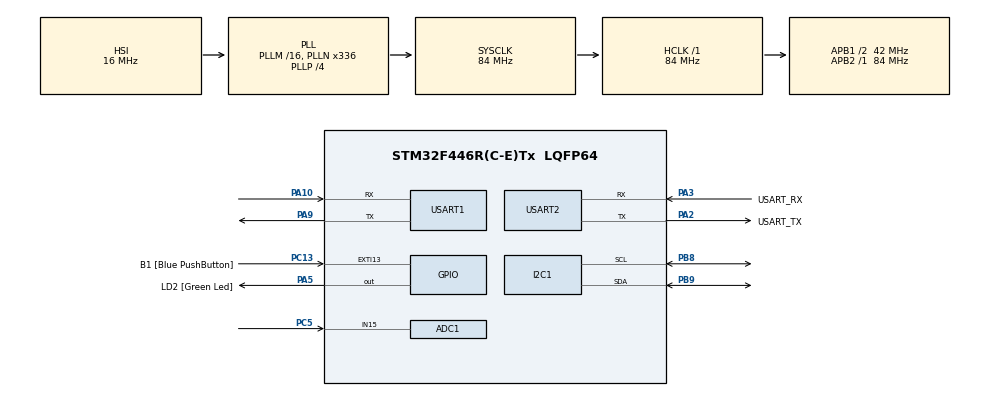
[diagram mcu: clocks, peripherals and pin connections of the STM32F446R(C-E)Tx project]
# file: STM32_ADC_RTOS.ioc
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ADC1.Channel-4\#ChannelRegularConversion=ADC_CHANNEL_15
ADC1.NbrOfConversionFlag=1
ADC1.Rank-4\#ChannelRegularConversion=1
ADC1.SamplingTime-4\#ChannelRegularConversion=ADC_SAMPLETIME_3CYCLES
ADC1.master=1
FREERTOS.Tasks01=defaultTask,0,128,StartDefaultTask,Default,NULL,Dynamic,NULL,NULL
FREERTOS.Timers01=LED_task,Timer_Callback,osTimerPeriodic,Default,NULL,Dynamic,NULL;myTimer02,Callback02,osTimerPeriodic,Default,NULL,Dynamic,NULL
FREERTOS.configTIMER_TASK_PRIORITY=6
FREERTOS.configUSE_NEWLIB_REENTRANT=1
FREERTOS.configUSE_TIMERS=1
Mcu.Family=STM32F4
Mcu.Name=STM32F446R(C-E)Tx
Mcu.Package=LQFP64
NVIC.EXTI15_10_IRQn=true\:5\:0\:false\:false\:true\:true\:true\:true\:true
NVIC.PriorityGroup=NVIC_PRIORITYGROUP_4
NVIC.TIM1_UP_TIM10_IRQn=true\:15\:0\:false\:false\:true\:false\:false\:true\:true
NVIC.TimeBase=TIM1_UP_TIM10_IRQn
NVIC.TimeBaseIP=TIM1
PA10.Mode=Asynchronous
PA10.Signal=USART1_RX
PA13.GPIO_Label=TMS
PA13.Mode=Serial_Wire
PA13.Signal=SYS_JTMS-SWDIO
PA14.GPIO_Label=TCK
PA14.Mode=Serial_Wire
PA14.Signal=SYS_JTCK-SWCLK
PA2.GPIO_Label=USART_TX
PA2.Mode=Asynchronous
PA2.Signal=USART2_TX
PA3.GPIO_Label=USART_RX
PA3.Mode=Asynchronous
PA3.Signal=USART2_RX
PA5.GPIO_Label=LD2 [Green Led]
PA5.Signal=GPIO_Output
PA9.Mode=Asynchronous
PA9.Signal=USART1_TX
PB3.GPIO_Label=SWO
PB3.Signal=SYS_JTDO-SWO
PB8.Mode=I2C
PB8.Signal=I2C1_SCL
PB9.Mode=I2C
PB9.Signal=I2C1_SDA
PC13.GPIO_Label=B1 [Blue PushButton]
PC13.GPIO_ModeDefaultEXTI=GPIO_MODE_IT_FALLING
PC13.Signal=GPXTI13
PC14-OSC32_IN.Mode=LSE-External-Oscillator
PC14-OSC32_IN.Signal=RCC_OSC32_IN
PC15-OSC32_OUT.Mode=LSE-External-Oscillator
PC15-OSC32_OUT.Signal=RCC_OSC32_OUT
PC5.Signal=ADCx_IN15
PH0-OSC_IN.Mode=HSE-External-Oscillator
PH0-OSC_IN.Signal=RCC_OSC_IN
PH1-OSC_OUT.Mode=HSE-External-Oscillator
PH1-OSC_OUT.Signal=RCC_OSC_OUT
ProjectManager.HeapSize=0x200
ProjectManager.StackSize=0x400
ProjectManager.TargetToolchain=STM32CubeIDE
RCC.48MHZClocksFreq_Value=84000000
RCC.AHBFreq_Value=84000000
RCC.APB1CLKDivider=RCC_HCLK_DIV2
RCC.APB1Freq_Value=42000000
RCC.APB1TimFreq_Value=84000000
RCC.APB2Freq_Value=84000000
RCC.APB2TimFreq_Value=84000000
RCC.CortexFreq_Value=84000000
RCC.FLatency-AdvancedSettings=FLASH_LATENCY_2
RCC.HCLKFreq_Value=84000000
RCC.HSE_VALUE=8000000
RCC.HSI_VALUE=16000000
RCC.PLLN=336
RCC.PLLP=RCC_PLLP_DIV4
RCC.SYSCLKFreq_VALUE=84000000
RCC.SYSCLKSource=RCC_SYSCLKSOURCE_PLLCLK
RCC.USBFreq_Value=168000000
RCC.VCOOutputFreq_Value=336000000
SH.ADCx_IN15.0=ADC1_IN15,IN15
USART1.VirtualMode=VM_ASYNC
USART2.VirtualMode=VM_ASYNC
VP_FREERTOS_VS_CMSIS_V1.Mode=CMSIS_V1
VP_SYS_VS_tim1.Mode=TIM1
board=NUCLEO-F446RE

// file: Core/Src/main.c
/* USER CODE BEGIN Header */
/**
  ******************************************************************************
  * @file           : main.c
  * @brief          : Main program body
  ******************************************************************************
  * @attention
  *
  * Copyright (c) 2022 STMicroelectronics.
  * All rights reserved.
  *
  * This software is licensed under terms that can be found in the LICENSE file
  * in the root directory of this software component.
  * If no LICENSE file comes with this software, it is provided AS-IS.
  *
  ******************************************************************************
  */
/* USER CODE END Header */
#include "main.h"
#include "cmsis_os.h"
#ifdef __GNUC__
#define PUTCHAR_PROTOTYPE int __io_putchar(int ch)
#else
#define PUTCHAR_PROTOTYPE int fputc(int ch, FILE *f)
#endif

UART_HandleTypeDef huart2;

ADC_HandleTypeDef hadc1;

I2C_HandleTypeDef hi2c1;

UART_HandleTypeDef huart1;
UART_HandleTypeDef huart2;

osThreadId defaultTaskHandle;
/* USER CODE BEGIN PV */
uint32_t count = 0;
uint32_t AD_RES = 0;
float V_RES = 0.0;
/* USER CODE END PV */
SemaphoreHandle_t DispMutex;
SemaphoreHandle_t PrintMutex;
xTimerHandle LED_taskHandle;

/* Private function prototypes
 -----------------------------------------------*/
void SystemClock_Config(void);
static void MX_GPIO_Init(void);
static void MX_USART2_UART_Init(void);
static void MX_ADC1_Init(void);
static void MX_USART1_UART_Init(void);
static void MX_I2C1_Init(void);
void StartDefaultTask(void const * argument);
void Timer_Callback(xTimerHandle xTimer);

/* USER CODE BEGIN PFP */
TaskHandle_t Display_Handler;
TaskHandle_t ADC_Task_Handler;
TaskHandle_t GPIO_Task_Handler;

/* USER CODE END PFP */

/* USER CODE BEGIN 0 */
PUTCHAR_PROTOTYPE
{

  xSemaphoreTake(PrintMutex,portMAX_DELAY);

  HAL_UART_Transmit(&huart2, (uint8_t *)&ch, 1, HAL_MAX_DELAY);

  xSemaphoreGive(PrintMutex);

  return ch;
}
void Display_data (char* str, uint32_t *data)
{
	xSemaphoreTake(DispMutex,portMAX_DELAY);
	HAL_Delay(500);
	char conv_data[10];
	sprintf(conv_data, "%d", data);

    lcd_clear ();
    lcd_put_cur(0, 0);

    lcd_send_string (str);
    lcd_send_string(conv_data);
    HAL_Delay(500);

	xSemaphoreGive(DispMutex);
}
void Display_Task (void *argument)
{
	while (1)
	{
		printf("Entered Display Button task\n\r");

		char* string_data = "Display_Task:";
		Display_data(string_data, count);

		vTaskDelay(1000);
	}
}
void ADC_Task (void *argument)
{
	while (1)
	{
		printf("Entered ADC_Task\n\r");

		char* string_data = "ADC Raw:";

	  // Start ADC Conversion
		HAL_ADC_Start(&hadc1);
	   // Poll ADC1 Perihperal & TimeOut = 1mSec
		HAL_ADC_PollForConversion(&hadc1, 1);
	   // Read The ADC Conversion Result
		AD_RES = HAL_ADC_GetValue(&hadc1);
		printf("ADC VALUE == %d\n\n\r",AD_RES);

		Display_data(string_data, AD_RES);

		vTaskDelay(500);
	}
}
void GPIO_Task (void *argument)
{
	while (1)
	{
		printf("Entered GPIO_Task \n\r");

		char* string_data = "GPIO st:";
		int state = 0;
		if(HAL_GPIO_ReadPin(GPIOA, GPIO_PIN_5)==GPIO_PIN_RESET){
			state = 0;
		}
		else{
			state = 1;
		}
		Display_data(string_data, state);

		vTaskDelay(500);
	}
}

/* Timer_Callback function */
void Timer_Callback(xTimerHandle xTimer)
{
  /* USER CODE BEGIN Timer_Callback */
	if (xTimer == LED_taskHandle)
	{
	    HAL_GPIO_WritePin(GPIOA, GPIO_PIN_5,GPIO_PIN_RESET); //Turn off LED
	}

  /* USER CODE END Timer_Callback */
}
int main(void)
{

  HAL_Init();

  SystemClock_Config();

  MX_GPIO_Init();
  MX_USART2_UART_Init();
  MX_ADC1_Init();
  MX_USART1_UART_Init();
  MX_I2C1_Init();

  /* USER CODE BEGIN 2 */
  lcd_init ();
  lcd_send_string ("STM32-F446");
  HAL_Delay(1000);
  lcd_put_cur(1, 0);
  lcd_send_string("FreeRTOS trial!");
  HAL_Delay(2000);
  lcd_clear ();

    /* Create the timer(s) */
  /* definition and creation of LED_task */
  /* USER CODE END 2 */

  DispMutex = xSemaphoreCreateMutex();

  if (DispMutex != NULL)
  {
	  HAL_UART_Transmit(&huart2, "Disp Mutex Created\n\n", 15, 1000);
  }

  PrintMutex = xSemaphoreCreateMutex();
  if (PrintMutex != NULL)
  {
	  HAL_UART_Transmit(&huart2, "Print Mutex Created\n\n", 19, 1000);
  }

  LED_taskHandle = xTimerCreate("timer1", pdMS_TO_TICKS(5000), pdFALSE, (void *) 1, Timer_Callback);
  xTaskCreate(Display_Task, "Display", 1024, NULL, 1, &Display_Handler);
  xTaskCreate(ADC_Task, 	"ADC_Task", 1024, NULL, 1, &ADC_Task_Handler);
  xTaskCreate(GPIO_Task, 	"GPIO_Task", 1024, NULL, 1, &GPIO_Task_Handler);
  vTaskStartScheduler();
  /* We should never get here as control is now taken by the scheduler */
  /* Infinite loop */
  while (1)
  {

  }
}
void HAL_GPIO_EXTI_Callback(uint16_t GPIO_Pin)
{

    if(GPIO_Pin == B1_Pin) // INT Source is pin A9
    {
    HAL_GPIO_TogglePin(GPIOA, GPIO_PIN_5); // Toggle LED
    //printf("Triggering interrupt ISR\n\r");
	xTimerStartFromISR(LED_taskHandle, 0);

    count++;
    }

}

void SystemClock_Config(void)
{
  RCC_OscInitTypeDef RCC_OscInitStruct = {0};
  RCC_ClkInitTypeDef RCC_ClkInitStruct = {0};

  /** Configure the main internal regulator output voltage
  */
  __HAL_RCC_PWR_CLK_ENABLE();
  __HAL_PWR_VOLTAGESCALING_CONFIG(PWR_REGULATOR_VOLTAGE_SCALE3);

  /** Initializes the RCC Oscillators according to the specified parameters
  * in the RCC_OscInitTypeDef structure.
  */
  RCC_OscInitStruct.OscillatorType = RCC_OSCILLATORTYPE_HSI;
  RCC_OscInitStruct.HSIState = RCC_HSI_ON;
  RCC_OscInitStruct.HSICalibrationValue = RCC_HSICALIBRATION_DEFAULT;
  RCC_OscInitStruct.PLL.PLLState = RCC_PLL_ON;
  RCC_OscInitStruct.PLL.PLLSource = RCC_PLLSOURCE_HSI;
  RCC_OscInitStruct.PLL.PLLM = 16;
  RCC_OscInitStruct.PLL.PLLN = 336;
  RCC_OscInitStruct.PLL.PLLP = RCC_PLLP_DIV4;
  RCC_OscInitStruct.PLL.PLLQ = 2;
  RCC_OscInitStruct.PLL.PLLR = 2;
  if (HAL_RCC_OscConfig(&RCC_OscInitStruct) != HAL_OK)
  {
    Error_Handler();
  }

  /** Initializes the CPU, AHB and APB buses clocks
  */
  RCC_ClkInitStruct.ClockType = RCC_CLOCKTYPE_HCLK|RCC_CLOCKTYPE_SYSCLK
                              |RCC_CLOCKTYPE_PCLK1|RCC_CLOCKTYPE_PCLK2;
  RCC_ClkInitStruct.SYSCLKSource = RCC_SYSCLKSOURCE_PLLCLK;
  RCC_ClkInitStruct.AHBCLKDivider = RCC_SYSCLK_DIV1;
  RCC_ClkInitStruct.APB1CLKDivider = RCC_HCLK_DIV2;
  RCC_ClkInitStruct.APB2CLKDivider = RCC_HCLK_DIV1;

  if (HAL_RCC_ClockConfig(&RCC_ClkInitStruct, FLASH_LATENCY_2) != HAL_OK)
  {
    Error_Handler();
  }
}

static void MX_ADC1_Init(void)
{

  ADC_ChannelConfTypeDef sConfig = {0};

  /** Configure the global features of the ADC (Clock, Resolution, Data Alignment and number of conversion)
  */
  hadc1.Instance = ADC1;
  hadc1.Init.ClockPrescaler = ADC_CLOCK_SYNC_PCLK_DIV4;
  hadc1.Init.Resolution = ADC_RESOLUTION_12B;
  hadc1.Init.ScanConvMode = DISABLE;
  hadc1.Init.ContinuousConvMode = DISABLE;
  hadc1.Init.DiscontinuousConvMode = DISABLE;
  hadc1.Init.ExternalTrigConvEdge = ADC_EXTERNALTRIGCONVEDGE_NONE;
  hadc1.Init.ExternalTrigConv = ADC_SOFTWARE_START;
  hadc1.Init.DataAlign = ADC_DATAALIGN_RIGHT;
  hadc1.Init.NbrOfConversion = 1;
  hadc1.Init.DMAContinuousRequests = DISABLE;
  hadc1.Init.EOCSelection = ADC_EOC_SINGLE_CONV;
  if (HAL_ADC_Init(&hadc1) != HAL_OK)
  {
    Error_Handler();
  }

  /** Configure for the selected ADC regular channel its corresponding rank in the sequencer and its sample time.
  */
  sConfig.Channel = ADC_CHANNEL_15;
  sConfig.Rank = 1;
  sConfig.SamplingTime = ADC_SAMPLETIME_3CYCLES;
  if (HAL_ADC_ConfigChannel(&hadc1, &sConfig) != HAL_OK)
  {
    Error_Handler();
  }

}

static void MX_I2C1_Init(void)
{

  hi2c1.Instance = I2C1;
  hi2c1.Init.ClockSpeed = 100000;
  hi2c1.Init.DutyCycle = I2C_DUTYCYCLE_2;
  hi2c1.Init.OwnAddress1 = 0;
  hi2c1.Init.AddressingMode = I2C_ADDRESSINGMODE_7BIT;
  hi2c1.Init.DualAddressMode = I2C_DUALADDRESS_DISABLE;
  hi2c1.Init.OwnAddress2 = 0;
  hi2c1.Init.GeneralCallMode = I2C_GENERALCALL_DISABLE;
  hi2c1.Init.NoStretchMode = I2C_NOSTRETCH_DISABLE;
  if (HAL_I2C_Init(&hi2c1) != HAL_OK)
  {
    Error_Handler();
  }

}

static void MX_USART1_UART_Init(void)
{

  huart1.Instance = USART1;
  huart1.Init.BaudRate = 115200;
  huart1.Init.WordLength = UART_WORDLENGTH_8B;
  huart1.Init.StopBits = UART_STOPBITS_1;
  huart1.Init.Parity = UART_PARITY_NONE;
  huart1.Init.Mode = UART_MODE_TX_RX;
  huart1.Init.HwFlowCtl = UART_HWCONTROL_NONE;
  huart1.Init.OverSampling = UART_OVERSAMPLING_16;
  if (HAL_UART_Init(&huart1) != HAL_OK)
  {
    Error_Handler();
  }

}

static void MX_USART2_UART_Init(void)
{

  huart2.Instance = USART2;
  huart2.Init.BaudRate = 115200;
  huart2.Init.WordLength = UART_WORDLENGTH_8B;
  huart2.Init.StopBits = UART_STOPBITS_1;
  huart2.Init.Parity = UART_PARITY_NONE;
  huart2.Init.Mode = UART_MODE_TX_RX;
  huart2.Init.HwFlowCtl = UART_HWCONTROL_NONE;
  huart2.Init.OverSampling = UART_OVERSAMPLING_16;
  if (HAL_UART_Init(&huart2) != HAL_OK)
  {
    Error_Handler();
  }

}

static void MX_GPIO_Init(void)
{
  GPIO_InitTypeDef GPIO_InitStruct = {0};

  /* GPIO Ports Clock Enable */
  __HAL_RCC_GPIOC_CLK_ENABLE();
  __HAL_RCC_GPIOH_CLK_ENABLE();
  __HAL_RCC_GPIOA_CLK_ENABLE();
  __HAL_RCC_GPIOB_CLK_ENABLE();

  /*Configure GPIO pin Output Level */
  HAL_GPIO_WritePin(LD2_GPIO_Port, LD2_Pin, GPIO_PIN_RESET);

  /*Configure GPIO pin : B1_Pin */
  GPIO_InitStruct.Pin = B1_Pin;
  GPIO_InitStruct.Mode = GPIO_MODE_IT_FALLING;
  GPIO_InitStruct.Pull = GPIO_NOPULL;
  HAL_GPIO_Init(B1_GPIO_Port, &GPIO_InitStruct);

  /*Configure GPIO pin : LD2_Pin */
  GPIO_InitStruct.Pin = LD2_Pin;
  GPIO_InitStruct.Mode = GPIO_MODE_OUTPUT_PP;
  GPIO_InitStruct.Pull = GPIO_NOPULL;
  GPIO_InitStruct.Speed = GPIO_SPEED_FREQ_LOW;
  HAL_GPIO_Init(LD2_GPIO_Port, &GPIO_InitStruct);

  /* EXTI interrupt init*/
  HAL_NVIC_SetPriority(EXTI15_10_IRQn, 5, 0);
  HAL_NVIC_EnableIRQ(EXTI15_10_IRQn);

}

void StartDefaultTask(void const * argument)
{
  for(;;)
  {
    osDelay(1);
  }
}

/*
  * @brief  Period elapsed callback in non blocking mode
  * @note   This function is called  when TIM1 interrupt took place, inside
  * HAL_TIM_IRQHandler(). It makes a direct call to HAL_IncTick() to increment
  * a global variable "uwTick" used as application time base.
  * @param  htim : TIM handle
  * @retval None
  */
void HAL_TIM_PeriodElapsedCallback(TIM_HandleTypeDef *htim)
{
  if (htim->Instance == TIM1) {
    HAL_IncTick();
  }
}

void Error_Handler(void)
{
  __disable_irq();
  while (1)
  {
  }
}
